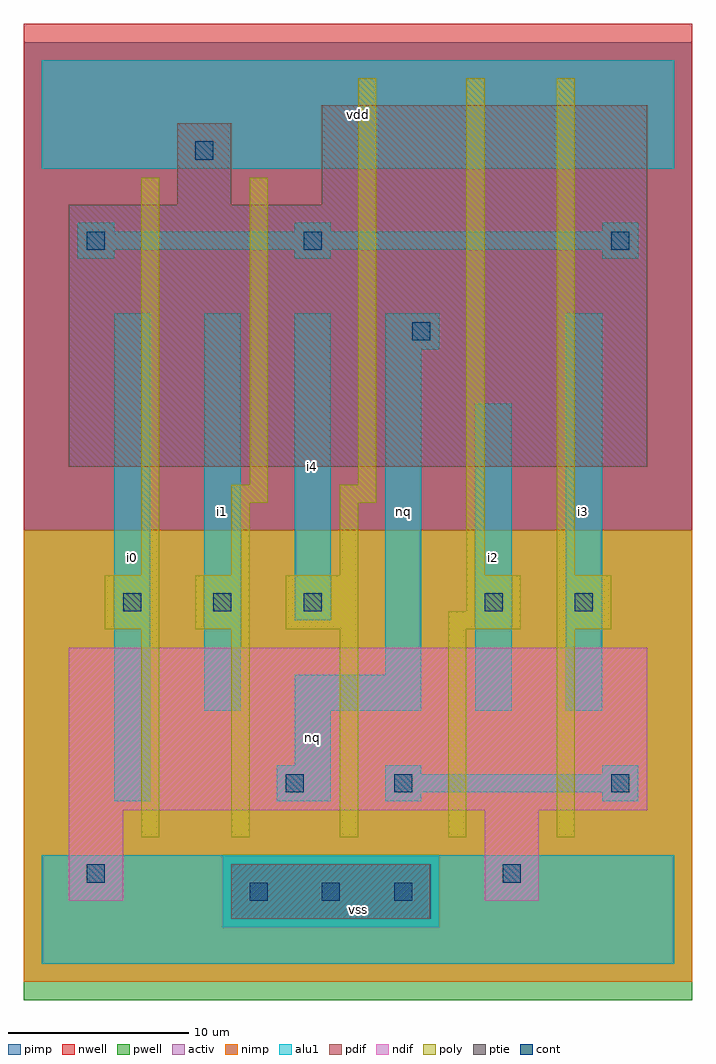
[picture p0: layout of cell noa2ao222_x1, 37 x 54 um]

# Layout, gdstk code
import gdstk
lib = gdstk.Library(unit=1e-6, precision=1e-09)
def R(c, l, rs):  # rectangles x0, y0, x1, y1
    for r in rs: c.add(gdstk.rectangle(r[:2], r[2:], *l))
def A(c, l, x, y, w, h, nx, ny, dx, dy):  # array of equal rectangles
    R(c, l, [(x+i*dx, y+j*dy, x+i*dx+w, y+j*dy+h) for i in range(nx) for j in range(ny)])
ndif = (3, 0)
pdif = (4, 0)
ptie = (6, 0)
cont = (25, 0)
pwell = (41, 0)
nwell = (42, 0)
activ = (43, 0)
pimp = (44, 0)
nimp = (45, 0)
poly = (46, 0)
alu1 = (49, 0)

noa2ao222_x1 = lib.new_cell('noa2ao222_x1')
R(noa2ao222_x1, ndif, [(1.5,3.5,4.5,8.5), (24.5,3.5,27.5,8.5), (1.5,8.5,33.5,17.5)])
R(noa2ao222_x1, pdif, [(1.5,27.5,33.5,42), (7.5,42,10.5,46.5), (15.5,42,33.5,47.5)])
R(noa2ao222_x1, ptie, [(10.5,2.5,21.5,5.5)])
A(noa2ao222_x1, cont, 11.5, 3.5, 1, 1, 3, 1, 4, 0)
A(noa2ao222_x1, cont, 4.5, 19.5, 1, 1, 3, 1, 5, 0)
R(noa2ao222_x1, cont, [(2.5,4.5,3.5,5.5), (25.5,4.5,26.5,5.5), (13.5,9.5,14.5,10.5), (19.5,9.5,20.5,10.5), (31.5,9.5,32.5,10.5), (24.5,19.5,25.5,20.5), (29.5,19.5,30.5,20.5), (20.5,34.5,21.5,35.5), (2.5,39.5,3.5,40.5), (14.5,39.5,15.5,40.5), (31.5,39.5,32.5,40.5), (8.5,44.5,9.5,45.5)])
R(noa2ao222_x1, pwell, [(-1,-2,36,24)])
R(noa2ao222_x1, nwell, [(-1,24,36,52)])
R(noa2ao222_x1, activ, [(10.5,2.5,21.5,5.5), (1.5,3.5,4.5,8.5), (24.5,3.5,27.5,8.5), (1.5,8.5,33.5,17.5), (1.5,27.5,33.5,42), (7.5,42,10.5,46.5), (15.5,42,33.5,47.5)])
R(noa2ao222_x1, pimp, [(10,2,22,6), (-1,24,36,51)])
R(noa2ao222_x1, nimp, [(-1,-1,36,2), (-1,2,10,6), (22,2,36,6), (-1,6,36,24)])
A(noa2ao222_x1, poly, 10.5, 7, 1, 11.5, 4, 1, 6, 0)
R(noa2ao222_x1, poly, [(5.5,7,6.5,18.5), (3.5,18.5,6.5,21.5), (8.5,18.5,11.5,21.5), (13.5,18.5,17.5,21.5), (22.5,18.5,26.5,19.5), (28.5,18.5,31.5,21.5), (23.5,19.5,26.5,21.5), (5.5,21.5,6.5,43.5), (10.5,21.5,11.5,25.5), (16.5,21.5,17.5,25.5), (23.5,21.5,24.5,49), (28.5,21.5,29.5,49), (10.5,25.5,12.5,26.5), (16.5,25.5,18.5,26.5), (11.5,26.5,12.5,43.5), (17.5,26.5,18.5,49)])
R(noa2ao222_x1, alu1, [(0,0,35,6), (4,9,6,36), (13,9,16,11), (19,9,21,9.5), (31,9,33,9.5), (19,9.5,33,10.5), (19,10.5,21,11), (31,10.5,33,11), (14,11,16,14), (9,14,11,36), (14,14,21,16), (24,14,26,31), (29,14,31,36), (19,16,21,34), (14,19,16,36), (19,34,22,36), (2,39,4,39.5), (14,39,16,39.5), (31,39,33,39.5), (2,39.5,33,40.5), (2,40.5,4,41), (14,40.5,16,41), (31,40.5,33,41), (0,44,35,50)])
noa2ao222_x1.add(gdstk.Label('i0', (5,22.5), layer=49, texttype=0))
noa2ao222_x1.add(gdstk.Label('nq', (15,12.5), layer=49, texttype=0))
noa2ao222_x1.add(gdstk.Label('i4', (15,27.5), layer=49, texttype=0))
noa2ao222_x1.add(gdstk.Label('i1', (10,25), layer=49, texttype=0))
noa2ao222_x1.add(gdstk.Label('vss', (17.5,3), layer=49, texttype=0))
noa2ao222_x1.add(gdstk.Label('i2', (25,22.5), layer=49, texttype=0))
noa2ao222_x1.add(gdstk.Label('nq', (20,25), layer=49, texttype=0))
noa2ao222_x1.add(gdstk.Label('vdd', (17.5,47), layer=49, texttype=0))
noa2ao222_x1.add(gdstk.Label('i3', (30,25), layer=49, texttype=0))

lib.write_gds('noa2ao222_x1.gds')
